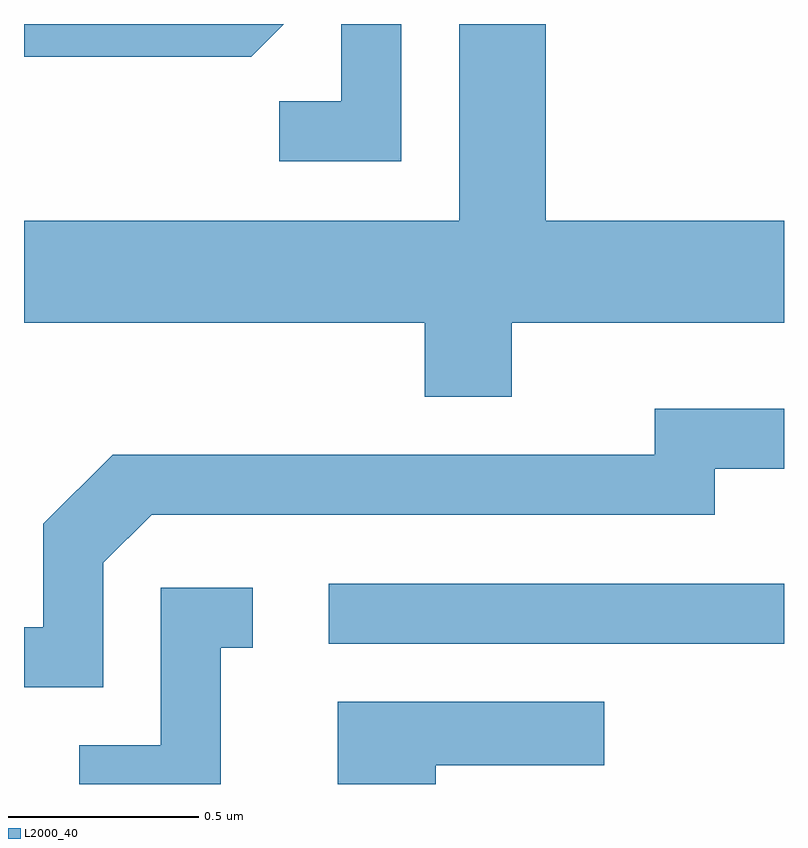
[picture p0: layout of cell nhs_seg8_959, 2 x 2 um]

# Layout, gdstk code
import gdstk
lib = gdstk.Library(unit=1e-6, precision=1e-09)
def R(c, l, rs):  # rectangles x0, y0, x1, y1
    for r in rs: c.add(gdstk.rectangle(r[:2], r[2:], *l))
def P(c, l, *ps):  # polygons
    for p in ps: c.add(gdstk.Polygon(p, *l))
L2000_40 = (2000, 40)

nhs_seg8_959 = lib.new_cell('nhs_seg8_959')
R(nhs_seg8_959, L2000_40, [(193.413,1806.711,194.611,1806.869)])
P(nhs_seg8_959, L2000_40, [(193.894,1807.556),(194.611,1807.556),(194.611,1807.824),(193.984,1807.824),(193.984,1808.342),(193.756,1808.342),(193.756,1807.824),(192.611,1807.824),(192.611,1807.556),(193.666,1807.556),(193.666,1807.361),(193.894,1807.361)],
  [(193.294,1808.342),(192.611,1808.342),(192.611,1808.256),(193.209,1808.256)],
  [(193.604,1808.342),(193.446,1808.342),(193.446,1808.139),(193.283,1808.139),(193.283,1807.981),(193.604,1807.981)],
  [(192.819,1806.924),(192.947,1807.051),(194.429,1807.051),(194.429,1807.171),(194.611,1807.171),(194.611,1807.329),(194.271,1807.329),(194.271,1807.209),(192.844,1807.209),(192.661,1807.027),(192.661,1806.754),(192.611,1806.754),(192.611,1806.596),(192.819,1806.596)],
  [(193.129,1806.701),(193.213,1806.701),(193.213,1806.859),(192.971,1806.859),(192.971,1806.444),(192.756,1806.444),(192.756,1806.342),(193.129,1806.342)],
  [(193.694,1806.391),(194.138,1806.391),(194.138,1806.559),(193.436,1806.559),(193.436,1806.342),(193.694,1806.342)])

lib.write_gds('nhs_seg8_959.gds')
